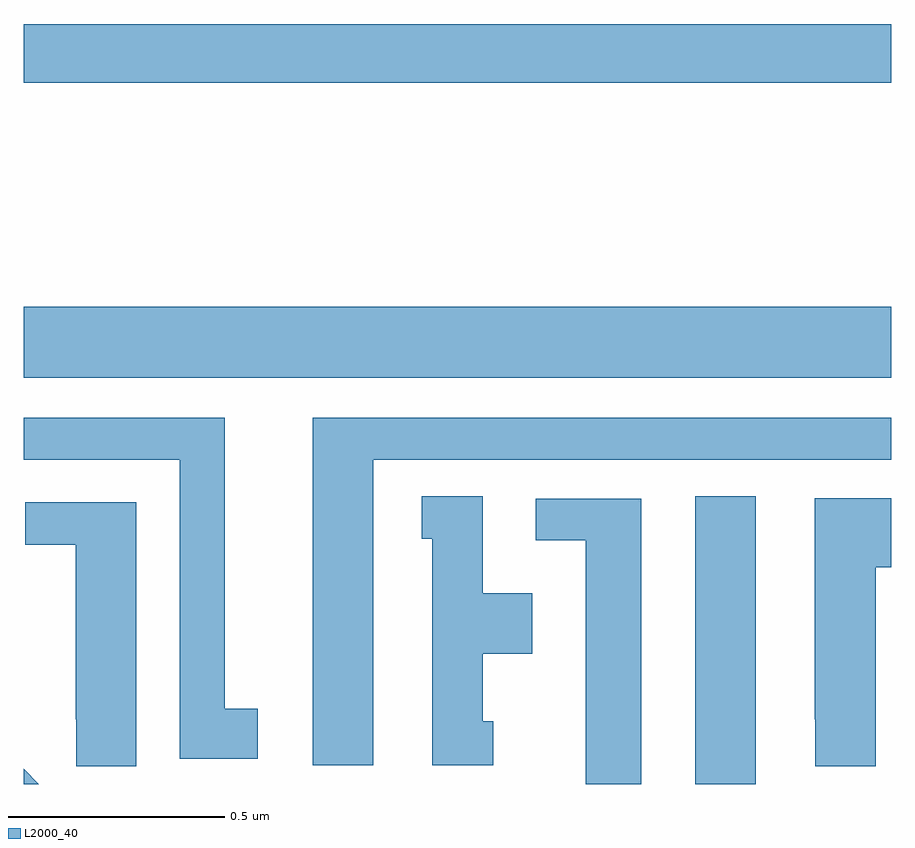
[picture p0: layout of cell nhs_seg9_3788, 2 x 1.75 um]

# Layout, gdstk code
import gdstk
lib = gdstk.Library(unit=1e-6, precision=1e-09)
def R(c, l, rs):  # rectangles x0, y0, x1, y1
    for r in rs: c.add(gdstk.rectangle(r[:2], r[2:], *l))
def P(c, l, *ps):  # polygons
    for p in ps: c.add(gdstk.Polygon(p, *l))
L2000_40 = (2000, 40)

nhs_seg9_3788 = lib.new_cell('nhs_seg9_3788')
R(nhs_seg9_3788, L2000_40, [(159.548,1179.5,159.688,1180.163), (158,1180.436,160,1180.6), (158,1181.116,160,1181.252)])
P(nhs_seg9_3788, L2000_40, [(158.539,1179.674),(158.464,1179.674),(158.464,1180.344),(158,1180.344),(158,1180.248),(158.36,1180.248),(158.36,1179.558),(158.539,1179.558)],
  [(158.806,1180.248),(160,1180.248),(160,1180.344),(158.666,1180.344),(158.666,1179.543),(158.806,1179.543)],
  [(159.082,1179.645),(159.058,1179.645),(159.058,1179.8),(159.172,1179.8),(159.172,1179.94),(159.058,1179.94),(159.058,1180.163),(158.918,1180.163),(158.918,1180.065),(158.942,1180.065),(158.942,1179.543),(159.082,1179.543)],
  [(159.964,1180),(160,1180),(160,1180.159),(159.824,1180.159),(159.824,1179.649),(159.825,1179.649),(159.825,1179.541),(159.964,1179.541)],
  [(159.424,1180.158),(159.18,1180.158),(159.18,1180.062),(159.296,1180.062),(159.296,1179.5),(159.424,1179.5)],
  [(158.26,1180.149),(158.004,1180.149),(158.004,1180.052),(158.12,1180.052),(158.12,1179.649),(158.121,1179.649),(158.121,1179.541),(158.26,1179.541)],
  [(158,1179.535),(158,1179.5),(158.035,1179.5)])

lib.write_gds('nhs_seg9_3788.gds')
